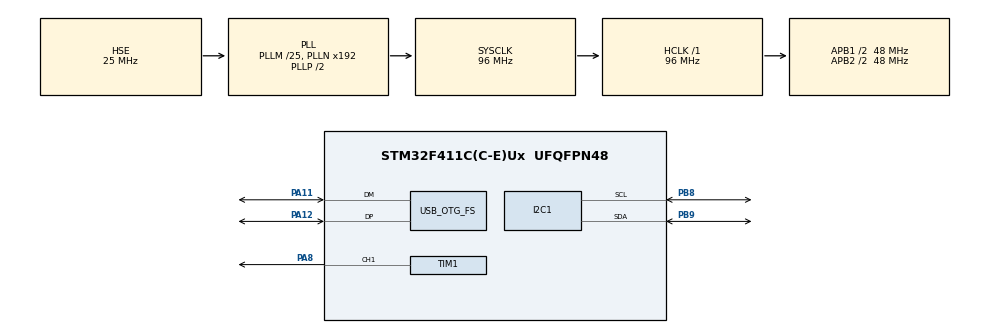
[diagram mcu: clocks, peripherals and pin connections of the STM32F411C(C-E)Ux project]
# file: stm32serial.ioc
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Dma.Request0=TIM1_CH1
Dma.TIM1_CH1.0.Direction=DMA_MEMORY_TO_PERIPH
Dma.TIM1_CH1.0.FIFOMode=DMA_FIFOMODE_DISABLE
Dma.TIM1_CH1.0.Instance=DMA2_Stream1
Dma.TIM1_CH1.0.MemDataAlignment=DMA_MDATAALIGN_HALFWORD
Dma.TIM1_CH1.0.MemInc=DMA_MINC_ENABLE
Dma.TIM1_CH1.0.Mode=DMA_NORMAL
Dma.TIM1_CH1.0.PeriphDataAlignment=DMA_PDATAALIGN_HALFWORD
Dma.TIM1_CH1.0.PeriphInc=DMA_PINC_DISABLE
Dma.TIM1_CH1.0.Priority=DMA_PRIORITY_LOW
I2C1.I2C_Mode=I2C_Fast
Mcu.Family=STM32F4
Mcu.Name=STM32F411C(C-E)Ux
Mcu.Package=UFQFPN48
NVIC.DMA2_Stream1_IRQn=true\:0\:0\:false\:false\:true\:false\:true
NVIC.OTG_FS_IRQn=true\:0\:0\:false\:false\:true\:true\:true
NVIC.PriorityGroup=NVIC_PRIORITYGROUP_4
PA11.Mode=Device_Only
PA11.Signal=USB_OTG_FS_DM
PA12.Mode=Device_Only
PA12.Signal=USB_OTG_FS_DP
PA8.Signal=S_TIM1_CH1
PB8.Mode=I2C
PB8.Signal=I2C1_SCL
PB9.Mode=I2C
PB9.Signal=I2C1_SDA
PC14-OSC32_IN.Mode=LSE-External-Oscillator
PC14-OSC32_IN.Signal=RCC_OSC32_IN
PC15-OSC32_OUT.Mode=LSE-External-Oscillator
PC15-OSC32_OUT.Signal=RCC_OSC32_OUT
PH0\ -\ OSC_IN.Mode=HSE-External-Oscillator
PH0\ -\ OSC_IN.Signal=RCC_OSC_IN
PH1\ -\ OSC_OUT.Mode=HSE-External-Oscillator
PH1\ -\ OSC_OUT.Signal=RCC_OSC_OUT
ProjectManager.HeapSize=0x200
ProjectManager.StackSize=0x400
ProjectManager.TargetToolchain=STM32CubeIDE
RCC.48MHZClocksFreq_Value=48000000
RCC.AHBFreq_Value=96000000
RCC.APB1CLKDivider=RCC_HCLK_DIV2
RCC.APB1Freq_Value=48000000
RCC.APB1TimFreq_Value=96000000
RCC.APB2CLKDivider=RCC_HCLK_DIV2
RCC.APB2Freq_Value=48000000
RCC.APB2TimFreq_Value=96000000
RCC.CortexFreq_Value=96000000
RCC.HCLKFreq_Value=96000000
RCC.HSE_VALUE=25000000
RCC.HSI_VALUE=16000000
RCC.PLLM=25
RCC.SYSCLKFreq_VALUE=96000000
RCC.SYSCLKSource=RCC_SYSCLKSOURCE_PLLCLK
RCC.VCOOutputFreq_Value=192000000
SH.S_TIM1_CH1.0=TIM1_CH1,PWM Generation1 CH1
TIM1.Channel-PWM\ Generation1\ CH1=TIM_CHANNEL_1
TIM1.Period=120-1
USB_DEVICE.CLASS_NAME_FS=CDC
USB_DEVICE.VirtualMode=Cdc
USB_DEVICE.VirtualModeFS=Cdc_FS
USB_OTG_FS.VirtualMode=Device_Only
VP_TIM1_VS_ClockSourceINT.Mode=Internal
VP_USB_DEVICE_VS_USB_DEVICE_CDC_FS.Mode=CDC_FS
board=custom

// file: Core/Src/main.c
/* USER CODE BEGIN Header */
/**
 ******************************************************************************
 * @file           : main.c
 * @brief          : Main program body
 ******************************************************************************
 * @attention
 *
 * <h2><center>&copy; Copyright (c) 2021 STMicroelectronics.
 * All rights reserved.</center></h2>
 *
 * This software component is licensed by ST under BSD 3-Clause license,
 * the "License"; You may not use this file except in compliance with the
 * License. You may obtain a copy of the License at:
 *                        opensource.org/licenses/BSD-3-Clause
 *
 ******************************************************************************
 */
/* USER CODE END Header */
#include "main.h"
#include "usb_device.h"

/* USER CODE BEGIN Includes */
#include "ssd1306.h"
#include "fonts.h"
#include "math.h"

/* USER CODE END Includes */

/* USER CODE BEGIN PD */
#define MAX_LED 12
#define USE_BRIGHTNESS 1
#define PI 3.14159265

/* USER CODE END PD */

I2C_HandleTypeDef hi2c1;

TIM_HandleTypeDef htim1;
DMA_HandleTypeDef hdma_tim1_ch1;

/* USER CODE BEGIN PV */

uint8_t LED_Data[MAX_LED][4];
uint8_t LED_Mod[MAX_LED][4];  // for brightness
uint16_t pwmData[(24 * MAX_LED) + 50];
int datasentflag = 0;

typedef enum {
	CPU_FREQ = 1,
	CPU_UTIL = 2,
	CPU_SPEED = 3,
	CPU_TEMP = 4,
	CPU_NAME = 5,
	RAM = 6,
	GPU_FREQ = 7,
	GPU_SPEED = 8,
	GPU_MEM = 9,
	GPU_FPS = 10,
	GPU_NAME = 11,
	GPU_UTIL = 12,
	GPU_TEMP = 13,

} DataHeaders;

struct System {
	int cpu_frequency;
	uint8_t cpu_util;
	uint8_t cpu_speed;
	uint8_t cpu_temp;
	char cpu_name[50];
	uint8_t ram_util;
	int gpu_freq;
	char gpu_speed[50];
	uint8_t gpu_mem;
	int gpu_fps;
	char gpu_name[50];
	uint8_t gpu_util;
	uint8_t gpu_temp;
};

/* USER CODE END PV */

void SystemClock_Config(void);
static void MX_GPIO_Init(void);
static void MX_I2C1_Init(void);
static void MX_DMA_Init(void);
static void MX_TIM1_Init(void);
/* USER CODE BEGIN PFP */
extern uint8_t isBufferEmpty();
extern void get_data_frame(uint8_t *buffer);
void Monitor_Get_Values(uint8_t *raw_string, size_t srcSize, int *buffer);
void writeToDisplay(char *str);

/* USER CODE END PFP */

/* USER CODE BEGIN 0 */
void writeToDisplay(char *str) {
	//HAL_Delay(1000);

	// ssd1306_Fill(Black);
	ssd1306_UpdateScreen(&hi2c1);

	//HAL_Delay(1000);

	// Write data to local screenbuffer
	ssd1306_SetCursor(0, 0);
	ssd1306_WriteString(str, Font_11x18, White);

//	     ssd1306_SetCursor(0, 36);
//	     ssd1306_WriteString(str, Font_11x18, White);

//	     // Draw rectangle on screen
//	     for (uint8_t i=0; i<28; i++) {
//	         for (uint8_t j=0; j<64; j++) {
//	             ssd1306_DrawPixel(100+i, 0+j, White);
//	         }
//	     }

// Copy all data from local screenbuffer to the screen
	ssd1306_UpdateScreen(&hi2c1);

}

// From Adafruit GFX Library
// https://github.com/adafruit/Adafruit-GFX-Library/blob/0b6068e833b050fa83ed90558c54f3389d26bc5b/Adafruit_GFX.cpp#L357
void drawCircle(int x0, int y0, int r){

  int16_t f = 1 - r;
  int16_t ddF_x = 1;
  int16_t ddF_y = -2 * r;
  int16_t x = 0;
  int16_t y = r;

  ssd1306_DrawPixel(x0, y0 + r, White);
  ssd1306_DrawPixel(x0, y0 - r, White);
  ssd1306_DrawPixel(x0 + r, y0, White);
  ssd1306_DrawPixel(x0 - r, y0, White);

  while (x < y) {
    if (f >= 0) {
      y--;
      ddF_y += 2;
      f += ddF_y;
    }
    x++;
    ddF_x += 2;
    f += ddF_x;

    ssd1306_DrawPixel(x0 + x, y0 + y, White);
    ssd1306_DrawPixel(x0 - x, y0 + y, White);
    ssd1306_DrawPixel(x0 + x, y0 - y, White);
    ssd1306_DrawPixel(x0 - x, y0 - y, White);
    ssd1306_DrawPixel(x0 + y, y0 + x, White);
    ssd1306_DrawPixel(x0 - y, y0 + x, White);
    ssd1306_DrawPixel(x0 + y, y0 - x, White);
    ssd1306_DrawPixel(x0 - y, y0 - x, White);
  }

}

void updateDisplay(struct System *system) {

	// ssd1306_Fill(Black);
	ssd1306_UpdateScreen(&hi2c1);

	char cpu_text[20] = { 0 };
	char ram_text[20] = { 0 };
	char gpu_text[20] = { 0 };

	//sprintf(cpu_text, "CPU %d%% %d C", system->cpu_util, system->cpu_temp);
	sprintf(cpu_text, "CPU %d ", system->cpu_frequency);
	sprintf(ram_text, "RAM: %d%%", system->ram_util);
	sprintf(gpu_text, "GPU %d%% %d C", system->gpu_util, system->gpu_temp);

	// Write data to local screenbuffer
	ssd1306_SetCursor(0, 0);
	ssd1306_WriteString(ram_text, Font_7x10, White);

	ssd1306_SetCursor(0, 15);
	ssd1306_WriteString(cpu_text, Font_11x18, White);
	ssd1306_SetCursor(90, 16);
	char mhz_text[] = {'M', 'H','z','\0'};
	ssd1306_WriteString(mhz_text, Font_7x10, White);

	char cpu_temp_text[4] = {0};
	sprintf(cpu_temp_text, "%d", system->cpu_temp);
	ssd1306_SetCursor(95, 0);
	ssd1306_WriteString(cpu_temp_text, Font_7x10, White);
	drawCircle(115, 2, 2);

	ssd1306_SetCursor(0, 40);
	ssd1306_WriteString(gpu_text, Font_11x18, White);

// Copy all data from local screenbuffer to the screen
	ssd1306_UpdateScreen(&hi2c1);

}

void Set_LED(int LEDnum, int Red, int Green, int Blue) {
	LED_Data[LEDnum][0] = LEDnum;
	LED_Data[LEDnum][1] = Green;
	LED_Data[LEDnum][2] = Red;
	LED_Data[LEDnum][3] = Blue;
}

void Set_Brightness(int brightness)  // 0-45
{
#if USE_BRIGHTNESS

	if (brightness > 45)
		brightness = 45;
	for (int i = 0; i < MAX_LED; i++) {
		LED_Mod[i][0] = LED_Data[i][0];
		for (int j = 1; j < 4; j++) {
			float angle = 90 - brightness;  // in degrees
			angle = angle * PI / 180;  // in rad
			LED_Mod[i][j] = (LED_Data[i][j]) / (tan(angle));
		}
	}

#endif

}

//https://controllerstech.com/interface-ws2812-with-stm32/
void WS2812_Send(void) {
	uint32_t indx = 0;
	uint32_t color;

	for (int i = 0; i < MAX_LED; i++) {
#if USE_BRIGHTNESS
		color =
				((LED_Mod[i][1] << 16) | (LED_Mod[i][2] << 8) | (LED_Mod[i][3]));
#else
		color = ((LED_Data[i][1]<<16) | (LED_Data[i][2]<<8) | (LED_Data[i][3]));
#endif

		for (int i = 23; i >= 0; i--) {
			if (color & (1 << i)) {
				pwmData[indx] = 80;  // 2/3 of 120
			}

			else
				pwmData[indx] = 40;  // 1/3 of 120

			indx++;
		}

	}

	for (int i = 0; i < 50; i++) {
		pwmData[indx] = 0;
		indx++;
	}

	HAL_TIM_PWM_Start_DMA(&htim1, TIM_CHANNEL_1, (uint32_t*) pwmData, indx);
	while (!datasentflag) {
	};
	datasentflag = 0;
}

void HAL_TIM_PWM_PulseFinishedCallback(TIM_HandleTypeDef *htim) {
	HAL_TIM_PWM_Stop_DMA(&htim1, TIM_CHANNEL_1);
	datasentflag = 1;
}

void updateWheel(uint8_t num_leds) {

	for (uint8_t i = 0; i < MAX_LED; i++) {
		Set_Brightness(25);
		if (i < num_leds) {
			Set_LED(i, 0, 0, 255);
		} else {
			Set_LED(i, 0, 0, 0);
		}
		WS2812_Send();
	}

}

void initColors() {
	for (uint8_t i = 0; i < MAX_LED; i++) {
		Set_LED(i, 0, 0, 255);
	}
}

/* USER CODE END 0 */

int main(void) {
	/* USER CODE BEGIN 1 */
	char msg[11] = "No Data";

	/* USER CODE END 1 */

	/* MCU Configuration--------------------------------------------------------*/

	/* Reset of all peripherals, Initializes the Flash interface and the Systick. */
	HAL_Init();

	/* Configure the system clock */
	SystemClock_Config();

	/* Initialize all configured peripherals */
	MX_GPIO_Init();
	MX_USB_DEVICE_Init();
	MX_I2C1_Init();
	MX_DMA_Init();
	MX_TIM1_Init();
	/* USER CODE BEGIN 2 */

	// Init lcd using one of the stm32HAL i2c typedefs
	if (ssd1306_Init(&hi2c1) != 0) {
		Error_Handler();
	}

//	writeToDisplay(msg);
	struct System system;

	DataHeaders headers;

	uint8_t data_frame_buffer[255] = { 0 };

	system.cpu_frequency = 4700;

	/* USER CODE END 2 */

	/* Infinite loop */
	/* USER CODE BEGIN WHILE */
	while (1) {
		if (!isBufferEmpty()) {
			get_data_frame(data_frame_buffer);
			DataHeaders data_head = (DataHeaders) data_frame_buffer[0];

			switch (data_head) {
			case CPU_UTIL: {
				system.cpu_util = data_frame_buffer[1];
				int leds = system.cpu_util / (9);
				if (leds < 1) {
					leds = 1;
				}
				updateWheel(leds);
				break;
			}
			case CPU_TEMP: {
				system.cpu_temp = data_frame_buffer[1];
				break;
			}
			case RAM: {
				system.ram_util = data_frame_buffer[1];
				break;
			}
			case GPU_UTIL: {
				system.gpu_util = data_frame_buffer[1];
				break;
			}
			case GPU_TEMP: {
				system.gpu_temp = data_frame_buffer[1];
				break;
			}
			default: {
				break;
			}
			}

			updateDisplay(&system);

		}

//	  CDC_Transmit_FS(msg,sizeof(msg));
//	  HAL_Delay(1000);

		/* USER CODE END WHILE */

	}
}

void SystemClock_Config(void) {
	RCC_OscInitTypeDef RCC_OscInitStruct = { 0 };
	RCC_ClkInitTypeDef RCC_ClkInitStruct = { 0 };

	/** Configure the main internal regulator output voltage
	 */
	__HAL_RCC_PWR_CLK_ENABLE();
	__HAL_PWR_VOLTAGESCALING_CONFIG(PWR_REGULATOR_VOLTAGE_SCALE1);
	/** Initializes the RCC Oscillators according to the specified parameters
	 * in the RCC_OscInitTypeDef structure.
	 */
	RCC_OscInitStruct.OscillatorType = RCC_OSCILLATORTYPE_HSE;
	RCC_OscInitStruct.HSEState = RCC_HSE_ON;
	RCC_OscInitStruct.PLL.PLLState = RCC_PLL_ON;
	RCC_OscInitStruct.PLL.PLLSource = RCC_PLLSOURCE_HSE;
	RCC_OscInitStruct.PLL.PLLM = 25;
	RCC_OscInitStruct.PLL.PLLN = 192;
	RCC_OscInitStruct.PLL.PLLP = RCC_PLLP_DIV2;
	RCC_OscInitStruct.PLL.PLLQ = 4;
	if (HAL_RCC_OscConfig(&RCC_OscInitStruct) != HAL_OK) {
		Error_Handler();
	}
	/** Initializes the CPU, AHB and APB buses clocks
	 */
	RCC_ClkInitStruct.ClockType = RCC_CLOCKTYPE_HCLK | RCC_CLOCKTYPE_SYSCLK
			| RCC_CLOCKTYPE_PCLK1 | RCC_CLOCKTYPE_PCLK2;
	RCC_ClkInitStruct.SYSCLKSource = RCC_SYSCLKSOURCE_PLLCLK;
	RCC_ClkInitStruct.AHBCLKDivider = RCC_SYSCLK_DIV1;
	RCC_ClkInitStruct.APB1CLKDivider = RCC_HCLK_DIV2;
	RCC_ClkInitStruct.APB2CLKDivider = RCC_HCLK_DIV2;

	if (HAL_RCC_ClockConfig(&RCC_ClkInitStruct, FLASH_LATENCY_3) != HAL_OK) {
		Error_Handler();
	}
}

static void MX_I2C1_Init(void) {

	hi2c1.Instance = I2C1;
	hi2c1.Init.ClockSpeed = 400000;
	hi2c1.Init.DutyCycle = I2C_DUTYCYCLE_2;
	hi2c1.Init.OwnAddress1 = 0;
	hi2c1.Init.AddressingMode = I2C_ADDRESSINGMODE_7BIT;
	hi2c1.Init.DualAddressMode = I2C_DUALADDRESS_DISABLE;
	hi2c1.Init.OwnAddress2 = 0;
	hi2c1.Init.GeneralCallMode = I2C_GENERALCALL_DISABLE;
	hi2c1.Init.NoStretchMode = I2C_NOSTRETCH_DISABLE;
	if (HAL_I2C_Init(&hi2c1) != HAL_OK) {
		Error_Handler();
	}

}

static void MX_TIM1_Init(void) {

	TIM_ClockConfigTypeDef sClockSourceConfig = { 0 };
	TIM_MasterConfigTypeDef sMasterConfig = { 0 };
	TIM_OC_InitTypeDef sConfigOC = { 0 };
	TIM_BreakDeadTimeConfigTypeDef sBreakDeadTimeConfig = { 0 };

	htim1.Instance = TIM1;
	htim1.Init.Prescaler = 0;
	htim1.Init.CounterMode = TIM_COUNTERMODE_UP;
	htim1.Init.Period = 120 - 1;
	htim1.Init.ClockDivision = TIM_CLOCKDIVISION_DIV1;
	htim1.Init.RepetitionCounter = 0;
	htim1.Init.AutoReloadPreload = TIM_AUTORELOAD_PRELOAD_DISABLE;
	if (HAL_TIM_Base_Init(&htim1) != HAL_OK) {
		Error_Handler();
	}
	sClockSourceConfig.ClockSource = TIM_CLOCKSOURCE_INTERNAL;
	if (HAL_TIM_ConfigClockSource(&htim1, &sClockSourceConfig) != HAL_OK) {
		Error_Handler();
	}
	if (HAL_TIM_PWM_Init(&htim1) != HAL_OK) {
		Error_Handler();
	}
	sMasterConfig.MasterOutputTrigger = TIM_TRGO_RESET;
	sMasterConfig.MasterSlaveMode = TIM_MASTERSLAVEMODE_DISABLE;
	if (HAL_TIMEx_MasterConfigSynchronization(&htim1, &sMasterConfig)
			!= HAL_OK) {
		Error_Handler();
	}
	sConfigOC.OCMode = TIM_OCMODE_PWM1;
	sConfigOC.Pulse = 0;
	sConfigOC.OCPolarity = TIM_OCPOLARITY_HIGH;
	sConfigOC.OCNPolarity = TIM_OCNPOLARITY_HIGH;
	sConfigOC.OCFastMode = TIM_OCFAST_DISABLE;
	sConfigOC.OCIdleState = TIM_OCIDLESTATE_RESET;
	sConfigOC.OCNIdleState = TIM_OCNIDLESTATE_RESET;
	if (HAL_TIM_PWM_ConfigChannel(&htim1, &sConfigOC, TIM_CHANNEL_1)
			!= HAL_OK) {
		Error_Handler();
	}
	sBreakDeadTimeConfig.OffStateRunMode = TIM_OSSR_DISABLE;
	sBreakDeadTimeConfig.OffStateIDLEMode = TIM_OSSI_DISABLE;
	sBreakDeadTimeConfig.LockLevel = TIM_LOCKLEVEL_OFF;
	sBreakDeadTimeConfig.DeadTime = 0;
	sBreakDeadTimeConfig.BreakState = TIM_BREAK_DISABLE;
	sBreakDeadTimeConfig.BreakPolarity = TIM_BREAKPOLARITY_HIGH;
	sBreakDeadTimeConfig.AutomaticOutput = TIM_AUTOMATICOUTPUT_DISABLE;
	if (HAL_TIMEx_ConfigBreakDeadTime(&htim1, &sBreakDeadTimeConfig)
			!= HAL_OK) {
		Error_Handler();
	}
	HAL_TIM_MspPostInit(&htim1);

}

static void MX_DMA_Init(void) {

	/* DMA controller clock enable */
	__HAL_RCC_DMA2_CLK_ENABLE();

	/* DMA interrupt init */
	/* DMA2_Stream1_IRQn interrupt configuration */
	HAL_NVIC_SetPriority(DMA2_Stream1_IRQn, 0, 0);
	HAL_NVIC_EnableIRQ(DMA2_Stream1_IRQn);

}

static void MX_GPIO_Init(void) {

	/* GPIO Ports Clock Enable */
	__HAL_RCC_GPIOC_CLK_ENABLE();
	__HAL_RCC_GPIOH_CLK_ENABLE();
	__HAL_RCC_GPIOA_CLK_ENABLE();
	__HAL_RCC_GPIOB_CLK_ENABLE();

}

void Error_Handler(void) {
	__disable_irq();
	while (1) {
	}
}

/************************ (C) COPYRIGHT STMicroelectronics *****END OF FILE****/
